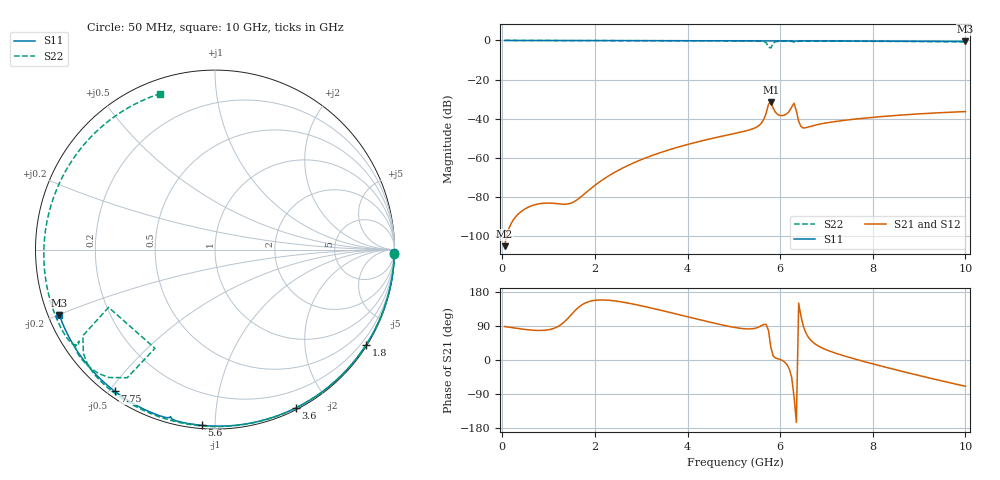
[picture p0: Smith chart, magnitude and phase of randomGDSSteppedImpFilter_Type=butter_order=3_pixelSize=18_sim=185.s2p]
! freq	dB(S11)	phase(S11)	dB(S12)	phase(S12)
!  dB(S21)	phase(S21)	dB(S22)	phase(S22)
!S-par simulation data
#  GHz  S  DB  R 50
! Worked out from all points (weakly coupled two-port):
!   200 points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, 50 MHz to 10 GHz, reference 50 ohm
!   highest |S21| = -31.33 dB at 5.8 GHz (marker M1); lowest = -105.0 dB at 50 MHz (marker M2)
!   lowest |S11| = -0.5 dB at 10 GHz (marker M3), VSWR 32.66, Z = 1.59 - j10.1 ohm
!   |S11| at or under -10 dB: nowhere
!   |S22| runs from -3.8 to 0.0 dB; largest |S21 - S12| = 0
!   S11 on the Smith chart (normalised r, x): 50 MHz: open; 1.8 GHz: 0.03, -3.45; 3.6 GHz: 0.02, -1.63; 5.6 GHz: 0.02, -0.93; 7.75 GHz: 0.02, -0.52; 10 GHz: 0.03, -0.20
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0.05  -0.00 -0.9  -104.98 88.3  -104.98 88.3  -0.00 -1.3
1.75  -0.04 -31.5  -78.76 147.8  -78.76 147.8  -0.06 -43.7
1.8  -0.04 -32.4  -77.77 150.9  -77.77 150.9  -0.06 -44.9
2.5  -0.06 -44.5  -66.34 154.7  -66.34 154.7  -0.08 -61.8
3.4  -0.08 -59.7  -57.34 131.9  -57.34 131.9  -0.11 -82.8
3.6  -0.08 -63.0  -55.81 126.1  -55.81 126.1  -0.12 -87.5
5.05  -0.13 -86.0  -47.28 85.3  -47.28 85.3  -0.20 -121.1
5.6  -0.16 -94.4  -42.05 90.8  -42.05 90.8  -0.42 -138.4
5.7  -0.16 -95.9  -36.93 93.7  -36.93 93.7  -1.12 -146.9
5.75  -0.17 -96.6  -32.36 76.8  -32.36 76.8  -3.42 -151.5
5.8  -0.17 -97.3  -31.33 32.5  -31.33 32.5  -3.83 -121.3
5.85  -0.17 -98.1  -34.52 10.6  -34.52 10.6  -1.25 -124.4
6  -0.18 -100.4  -38.29 1.4  -38.29 1.4  -0.39 -135.8
6.15  -0.19 -102.7  -37.29 -12.8  -37.29 -12.8  -0.34 -141.7
6.3  -0.33 -104.9  -32.03 -97.0  -32.03 -97.0  -0.79 -146.0
6.4  -0.24 -105.7  -41.24 150.0  -41.24 150.0  -0.43 -146.4
6.45  -0.22 -106.5  -43.94 114.9  -43.94 114.9  -0.37 -148.1
6.7  -0.22 -110.3  -43.54 47.8  -43.54 47.8  -0.33 -155.0
7.75  -0.29 -125.4  -39.81 -2.0  -39.81 -2.0  -0.42 178.2
8.35  -0.35 -133.8  -38.54 -21.3  -38.54 -21.3  -0.49 161.9
9.15  -0.43 -145.1  -37.26 -45.4  -37.26 -45.4  -0.60 138.0
10  -0.53 -157.2  -36.29 -69.2  -36.29 -69.2  -0.71 109.3
